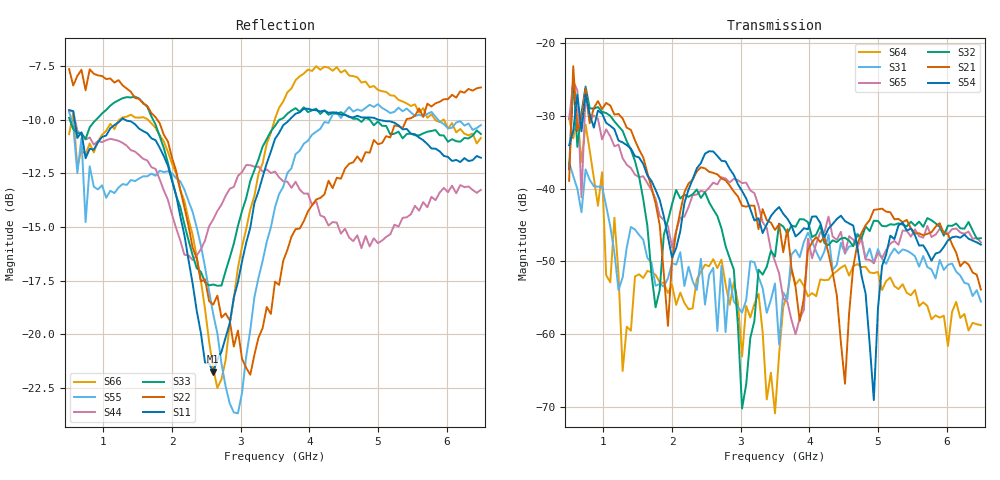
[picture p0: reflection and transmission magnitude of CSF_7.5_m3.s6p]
!Keysight Technologies,M9804A,MY58100912,A.14.10.03
!Date: Thursday, April 27, 2023 10:28:33
!Correction: S11(C  6-Port  )
!S12(C  6-Port  )
!S13(C  6-Port  )
!S14(C  6-Port  )
!S15(C  6-Port  )
!S16(C  6-Port  )
!S21(C  6-Port  )
!S22(C  6-Port  )
!S23(C  6-Port  )
!S24(C  6-Port  )
!S25(C  6-Port  )
!S26(C  6-Port  )
!S31(C  6-Port  )
!S32(C  6-Port  )
!S33(C  6-Port  )
!S34(C  6-Port  )
!S35(C  6-Port  )
!S36(C  6-Port  )
!S41(C  6-Port  )
!S42(C  6-Port  )
!S43(C  6-Port  )
!S44(C  6-Port  )
!S45(C  6-Port  )
!S46(C  6-Port  )
!S51(C  6-Port  )
!S52(C  6-Port  )
!S53(C  6-Port  )
!S54(C  6-Port  )
!S55(C  6-Port  )
!S56(C  6-Port  )
!S61(C  6-Port  )
!S62(C  6-Port  )
!S63(C  6-Port  )
!S64(C  6-Port  )
!S65(C  6-Port  )
!S66(C  6-Port  )
!S6P File: Measurement: :
# Hz S  RI  R 50
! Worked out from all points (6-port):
!   101 points, 500 MHz to 6.5 GHz, reference 50 ohm
!   strongest paths, dB at 500 MHz, 2 GHz, 3.5 GHz, 5 GHz, 6.5 GHz:
!     S54: -34.0, -49.5, -43.1, -56.5, -47.7
!     S21: -38.9, -49.8, -45.7, -42.8, -53.9
!     S32: -37.3, -42.1, -49.3, -44.4, -46.8
!     S65: -30.4, -48.1, -50.0, -48.8, -47.4
!     S31: -36.4, -50.2, -53.0, -48.3, -55.5
!     S64: -30.2, -53.2, -70.9, -51.4, -58.8
!   lowest |S11| = -21.7 dB at 2.6 GHz (marker M1), VSWR 1.18, Z = 42.7 + j2.09 ohm
!   |S11| at or under -10 dB: 579.2 MHz to 1.26 GHz (680.7 MHz wide, 74 % of centre); 1.314 GHz to 3.711 GHz (2.397 GHz wide, 95.4 % of centre); 5.007 GHz to end of sweep
